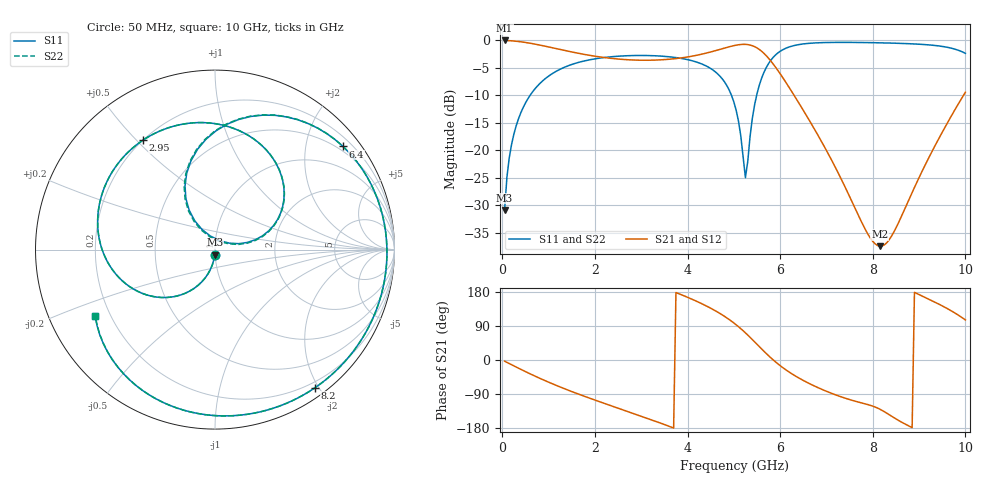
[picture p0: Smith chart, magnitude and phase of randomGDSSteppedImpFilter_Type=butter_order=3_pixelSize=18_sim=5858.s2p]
! freq	dB(S11)	phase(S11)	dB(S12)	phase(S12)
!  dB(S21)	phase(S21)	dB(S22)	phase(S22)
!S-par simulation data
#  GHz  S  DB  R 50
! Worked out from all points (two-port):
!   200 points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, 50 MHz to 10 GHz, reference 50 ohm
!   highest |S21| = -0.01 dB at 50 MHz (marker M1); lowest = -37.4 dB at 8.15 GHz (marker M2)
!   |S21| within 3 dB of the highest: start of sweep to 2.111 GHz; 3.999 GHz to 5.725 GHz (1.726 GHz wide, 35.5 % of centre)
!   lowest |S11| = -30.8 dB at 50 MHz (marker M3), VSWR 1.06, Z = 49.7 - j2.86 ohm
!   |S11| at or under -10 dB: start of sweep to 599 MHz; 4.95 GHz to 5.492 GHz (541.7 MHz wide, 10.4 % of centre)
!   |S22| runs from -30.8 to -0.4 dB; largest |S21 - S12| = 0
!   S11 on the Smith chart (normalised r, x): 50 MHz: 0.99, -0.06; 2.95 GHz: 0.20, +0.52; 6.4 GHz: 0.39, +2.79; 8.2 GHz: 0.12, -1.95; 10 GHz: 0.14, -0.25
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0.05  -30.83 -93.4  -0.01 -3.2  -0.01 -3.2  -30.84 -93.3
0.2  -18.91 -103.0  -0.07 -12.5  -0.07 -12.5  -18.92 -103.0
0.5  -11.38 -121.2  -0.37 -30.6  -0.37 -30.6  -11.39 -121.2
1.05  -6.19 -151.7  -1.28 -61.1  -1.28 -61.1  -6.19 -151.7
1.75  -3.77 174.7  -2.51 -94.7  -2.51 -94.7  -3.77 174.7
2.95  -2.73 123.5  -3.60 -146.0  -3.60 -146.0  -2.73 123.5
3.4  -2.84 104.1  -3.54 -165.7  -3.54 -165.7  -2.84 104.0
4.4  -4.63 54.4  -2.32 143.0  -2.32 143.0  -4.63 54.2
4.8  -7.56 29.2  -1.39 115.1  -1.39 115.1  -7.56 28.8
5.05  -12.69 13.7  -0.86 93.0  -0.86 93.0  -12.72 12.8
5.25  -24.95 62.0  -0.72 71.7  -0.72 71.7  -25.69 61.4
5.4  -14.13 125.1  -0.97 53.9  -0.97 53.9  -14.19 126.6
5.6  -6.86 110.3  -1.97 29.1  -1.97 29.1  -6.87 111.0
5.95  -2.28 74.8  -5.44 -10.0  -5.44 -10.0  -2.29 75.3
6.4  -0.76 38.9  -11.32 -47.3  -11.32 -47.3  -0.77 39.2
6.7  -0.48 19.8  -15.53 -66.3  -15.53 -66.3  -0.49 20.1
7.35  -0.36 -14.8  -25.73 -98.6  -25.73 -98.6  -0.35 -14.5
8.15  -0.44 -52.0  -37.39 -129.5  -37.39 -129.5  -0.43 -51.8
8.2  -0.45 -54.2  -37.36 -132.8  -37.36 -132.8  -0.44 -54.0
8.35  -0.48 -61.0  -36.27 -143.9  -36.27 -143.9  -0.47 -60.8
9.25  -0.84 -103.6  -20.65 158.2  -20.65 158.2  -0.84 -103.4
10  -2.35 -151.2  -9.42 105.8  -9.42 105.8  -2.35 -150.9
